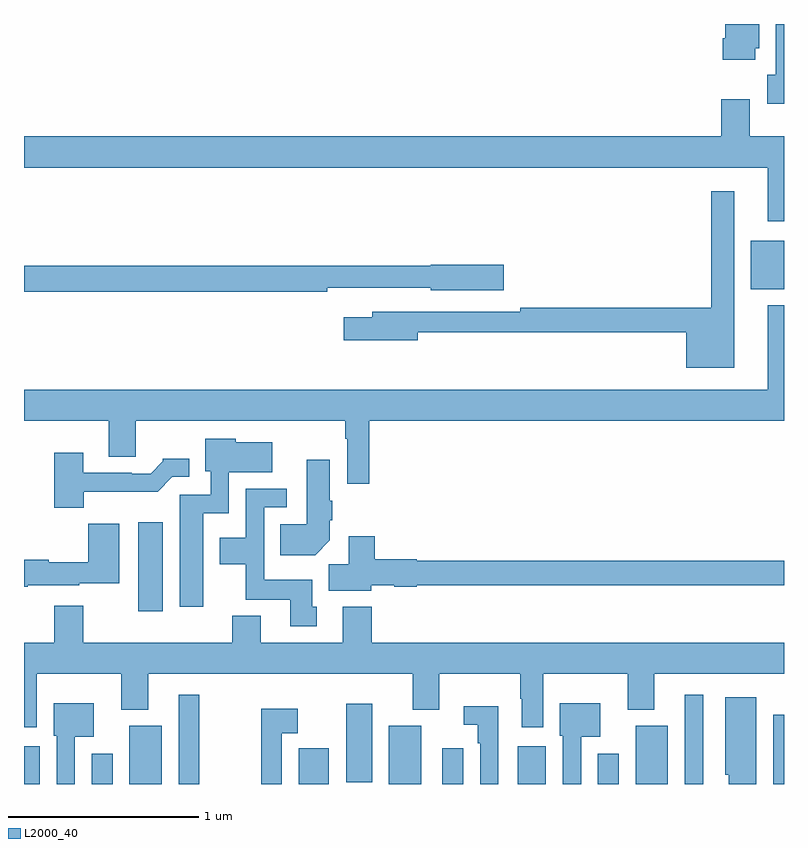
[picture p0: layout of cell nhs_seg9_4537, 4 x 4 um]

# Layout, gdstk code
import gdstk
lib = gdstk.Library(unit=1e-6, precision=1e-09)
def R(c, l, rs):  # rectangles x0, y0, x1, y1
    for r in rs: c.add(gdstk.rectangle(r[:2], r[2:], *l))
def P(c, l, *ps):  # polygons
    for p in ps: c.add(gdstk.Polygon(p, *l))
L2000_40 = (2000, 40)

nhs_seg9_4537 = lib.new_cell('nhs_seg9_4537')
R(nhs_seg9_4537, L2000_40, [(371,1202.5,371.083,1202.698), (371.357,1202.5,371.467,1202.659), (371.555,1202.5,371.725,1202.806), (371.814,1202.5,371.923,1202.971), (372.446,1202.5,372.604,1202.687), (372.92,1202.5,373.09,1202.806), (373.2,1202.5,373.312,1202.689), (373.598,1202.5,373.747,1202.698), (374.021,1202.5,374.131,1202.659), (374.219,1202.5,374.389,1202.806), (374.478,1202.5,374.574,1202.971), (374.943,1202.5,375,1202.865), (372.695,1202.508,372.832,1202.923), (371.6,1203.408,371.731,1203.877), (374.825,1205.105,375,1205.359)])
P(nhs_seg9_4537, L2000_40, [(374.848,1206.372),(374.869,1206.372),(374.869,1206.5),(374.69,1206.5),(374.69,1206.424),(374.678,1206.424),(374.678,1206.312),(374.848,1206.312)],
  [(375,1206.5),(374.957,1206.5),(374.957,1206.234),(374.912,1206.234),(374.912,1206.08),(375,1206.08)],
  [(374.821,1206.103),(374.669,1206.103),(374.669,1205.908),(371,1205.908),(371,1205.744),(374.915,1205.744),(374.915,1205.463),(375,1205.463),(375,1205.908),(374.821,1205.908)],
  [(374.737,1205.62),(374.616,1205.62),(374.616,1205.006),(373.612,1205.006),(373.612,1204.986),(372.833,1204.986),(372.833,1204.957),(372.684,1204.957),(372.684,1204.835),(373.072,1204.835),(373.072,1204.878),(374.486,1204.878),(374.486,1204.691),(374.737,1204.691)],
  [(372.596,1205.112),(373.14,1205.112),(373.14,1205.099),(373.525,1205.099),(373.525,1205.234),(373.14,1205.234),(373.14,1205.228),(371,1205.228),(371,1205.092),(372.596,1205.092)],
  [(372.818,1204.412),(375,1204.412),(375,1205.02),(374.915,1205.02),(374.915,1204.576),(371,1204.576),(371,1204.412),(371.447,1204.412),(371.447,1204.222),(371.587,1204.222),(371.587,1204.412),(372.69,1204.412),(372.69,1204.316),(372.702,1204.316),(372.702,1204.08),(372.818,1204.08)],
  [(371.944,1203.926),(372.078,1203.926),(372.078,1204.142),(372.307,1204.142),(372.307,1204.3),(372.114,1204.3),(372.114,1204.318),(371.954,1204.318),(371.954,1204.146),(371.982,1204.146),(371.982,1204.023),(371.819,1204.023),(371.819,1203.432),(371.944,1203.432)],
  [(371.314,1204.038),(371.703,1204.038),(371.781,1204.116),(371.869,1204.116),(371.869,1204.213),(371.73,1204.213),(371.73,1204.198),(371.666,1204.134),(371.567,1204.134),(371.567,1204.137),(371.311,1204.137),(371.311,1204.243),(371.159,1204.243),(371.159,1203.953),(371.314,1203.953)],
  [(372.61,1203.782),(372.61,1203.889),(372.623,1203.889),(372.623,1203.992),(372.61,1203.992),(372.61,1204.207),(372.488,1204.207),(372.488,1203.868),(372.349,1203.868),(372.349,1203.704),(372.532,1203.704)],
  [(372.541,1203.432),(372.517,1203.432),(372.517,1203.574),(372.264,1203.574),(372.264,1203.957),(372.382,1203.957),(372.382,1204.053),(372.168,1204.053),(372.168,1203.796),(372.029,1203.796),(372.029,1203.656),(372.166,1203.656),(372.166,1203.47),(372.401,1203.47),(372.401,1203.33),(372.541,1203.33)],
  [(371.02,1203.545),(371.292,1203.545),(371.292,1203.557),(371.5,1203.557),(371.5,1203.871),(371.338,1203.871),(371.338,1203.667),(371.13,1203.667),(371.13,1203.68),(371,1203.68),(371,1203.538),(371.02,1203.538)],
  [(372.828,1203.545),(372.948,1203.545),(372.948,1203.538),(373.068,1203.538),(373.068,1203.546),(375,1203.546),(375,1203.674),(373.068,1203.674),(373.068,1203.682),(372.845,1203.682),(372.845,1203.805),(372.71,1203.805),(372.71,1203.656),(372.605,1203.656),(372.605,1203.518),(372.828,1203.518)],
  [(371.068,1203.08),(371.513,1203.08),(371.513,1202.891),(371.653,1202.891),(371.653,1203.08),(373.046,1203.08),(373.046,1202.891),(373.186,1202.891),(373.186,1203.08),(373.612,1203.08),(373.612,1202.948),(373.619,1202.948),(373.619,1202.799),(373.732,1202.799),(373.732,1203.08),(374.177,1203.08),(374.177,1202.891),(374.317,1202.891),(374.317,1203.08),(375,1203.08),(375,1203.244),(372.83,1203.244),(372.83,1203.433),(372.677,1203.433),(372.677,1203.244),(372.247,1203.244),(372.247,1203.385),(372.095,1203.385),(372.095,1203.244),(371.311,1203.244),(371.311,1203.439),(371.159,1203.439),(371.159,1203.244),(371,1203.244),(371,1202.799),(371.068,1202.799)],
  [(374.854,1202.956),(374.69,1202.956),(374.69,1202.55),(374.708,1202.55),(374.708,1202.5),(374.854,1202.5)],
  [(373.932,1202.75),(374.032,1202.75),(374.032,1202.926),(373.82,1202.926),(373.82,1202.754),(373.836,1202.754),(373.836,1202.5),(373.932,1202.5)],
  [(371.268,1202.75),(371.368,1202.75),(371.368,1202.926),(371.156,1202.926),(371.156,1202.754),(371.172,1202.754),(371.172,1202.5),(371.268,1202.5)],
  [(373.497,1202.908),(373.314,1202.908),(373.314,1202.811),(373.389,1202.811),(373.389,1202.714),(373.401,1202.714),(373.401,1202.5),(373.497,1202.5)],
  [(372.357,1202.768),(372.44,1202.768),(372.44,1202.896),(372.249,1202.896),(372.249,1202.5),(372.357,1202.5)])

lib.write_gds('nhs_seg9_4537.gds')
